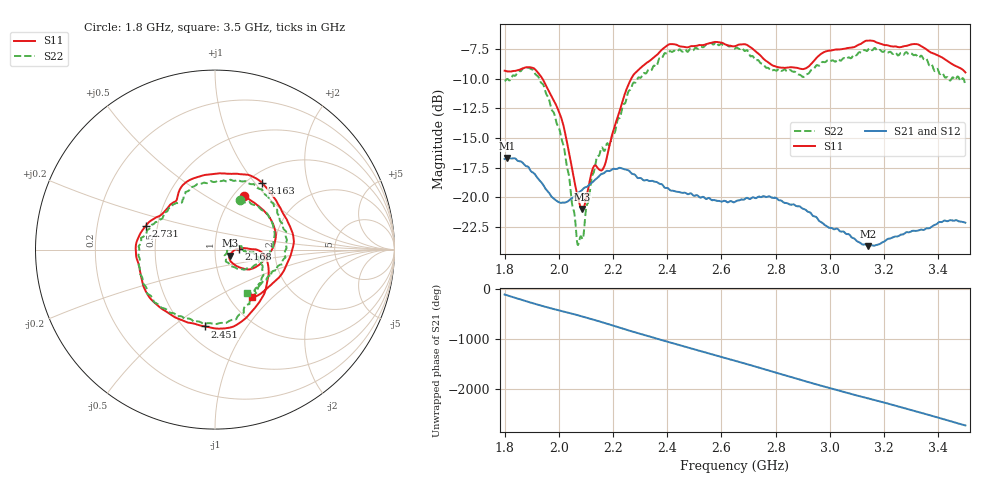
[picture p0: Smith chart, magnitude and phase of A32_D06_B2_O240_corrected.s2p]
! Created with skrf 1.9.0 (http://scikit-rf.org).
# Hz S RI R 50.0
!freq ReS11 ImS11 ReS21 ImS21 ReS12 ImS12 ReS22 ImS22
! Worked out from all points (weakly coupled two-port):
!   1601 points, 1.8 GHz to 3.5 GHz, reference 50 ohm
!   highest |S21| = -16.69 dB at 1.811 GHz (marker M1); lowest = -24.1 dB at 3.142 GHz (marker M2)
!   lowest |S11| = -21.0 dB at 2.087 GHz (marker M3), VSWR 1.20, Z = 58.9 - j4 ohm
!   |S11| at or under -10 dB: 1.939 GHz to 2.267 GHz (327.8 MHz wide, 15.6 % of centre)
!   |S22| runs from -24.0 to -6.9 dB; largest |S21 - S12| = 0.0024
!   S11 on the Smith chart (normalised r, x): 1.8 GHz: 1.12, +0.76; 2.168 GHz: 1.31, +0.01; 2.451 GHz: 0.63, -0.66; 2.731 GHz: 0.43, +0.14; 3.163 GHz: 1.16, +1.09; 3.5 GHz: 1.27, -0.76
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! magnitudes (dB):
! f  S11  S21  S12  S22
! 1.8 GHz  -9.3  -16.8  -16.8  -10.2
! 1.811 GHz  -9.4  -16.7  -16.7  -10.0
! 1.883 GHz  -9.0  -17.4  -17.4  -9.1
! 1.943 GHz  -10.2  -19.0  -19.0  -10.6
! 2.011 GHz  -13.5  -20.5  -20.5  -15.2
! 2.068 GHz  -19.8  -19.7  -19.7  -23.8
! 2.084 GHz  -21.0  -19.4  -19.4  -23.4
! 2.087 GHz  -21.0  -19.4  -19.4  -23.5
! 2.131 GHz  -17.3  -18.6  -18.6  -17.7
! 2.168 GHz  -17.4  -18.0  -18.0  -16.1
! 2.263 GHz  -10.2  -17.9  -17.9  -11.0
! 2.367 GHz  -7.9  -18.8  -18.8  -8.5
! 2.451 GHz  -7.3  -19.6  -19.6  -7.7
! 2.65 GHz  -7.3  -20.4  -20.4  -7.5
! 2.731 GHz  -7.8  -20.0  -20.1  -8.4
! 2.812 GHz  -9.0  -20.3  -20.1  -9.2
! 2.934 GHz  -8.7  -21.5  -21.4  -9.2
! 3.142 GHz  -6.8  -24.1  -24.0  -7.5
! 3.163 GHz  -6.8  -24.1  -24.0  -7.4
! 3.217 GHz  -7.2  -23.5  -23.5  -7.8
! 3.326 GHz  -7.1  -22.8  -22.8  -8.2
! 3.5 GHz  -9.5  -22.2  -22.1  -10.5
